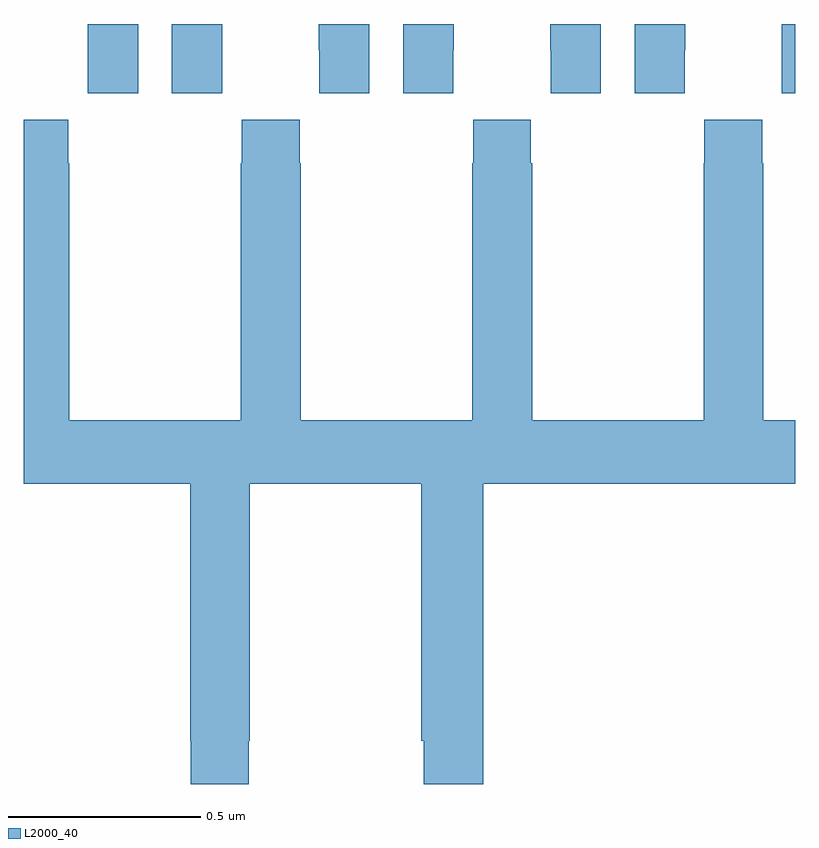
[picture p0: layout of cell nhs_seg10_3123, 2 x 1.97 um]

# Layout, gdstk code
import gdstk
lib = gdstk.Library(unit=1e-6, precision=1e-09)
def P(c, l, *ps):  # polygons
    for p in ps: c.add(gdstk.Polygon(p, *l))
L2000_40 = (2000, 40)

nhs_seg10_3123 = lib.new_cell('nhs_seg10_3123')
P(nhs_seg10_3123, L2000_40, [(149.296,1309.5),(149.165,1309.5),(149.165,1309.432),(149.166,1309.432),(149.166,1309.32),(149.296,1309.32)],
  [(149.514,1309.432),(149.515,1309.432),(149.515,1309.5),(149.384,1309.5),(149.384,1309.32),(149.514,1309.32)],
  [(149.896,1309.5),(149.765,1309.5),(149.765,1309.432),(149.766,1309.432),(149.766,1309.32),(149.896,1309.32)],
  [(150.114,1309.432),(150.115,1309.432),(150.115,1309.5),(149.984,1309.5),(149.984,1309.32),(150.114,1309.32)],
  [(150.496,1309.5),(150.365,1309.5),(150.365,1309.432),(150.366,1309.432),(150.366,1309.32),(150.496,1309.32)],
  [(150.714,1309.432),(150.715,1309.432),(150.715,1309.5),(150.584,1309.5),(150.584,1309.32),(150.714,1309.32)],
  [(151,1309.5),(150.965,1309.5),(150.965,1309.432),(150.966,1309.432),(150.966,1309.32),(151,1309.32)],
  [(149.583,1307.641),(149.586,1307.641),(149.586,1308.308),(150.031,1308.308),(150.031,1307.641),(150.037,1307.641),(150.037,1307.529),(150.191,1307.529),(150.191,1308.308),(151,1308.308),(151,1308.472),(150.918,1308.472),(150.918,1309.139),(150.915,1309.139),(150.915,1309.252),(150.765,1309.252),(150.765,1309.139),(150.763,1309.139),(150.763,1308.472),(150.318,1308.472),(150.318,1309.139),(150.315,1309.139),(150.315,1309.252),(150.165,1309.252),(150.165,1309.139),(150.163,1309.139),(150.163,1308.472),(149.718,1308.472),(149.718,1309.139),(149.715,1309.139),(149.715,1309.252),(149.565,1309.252),(149.565,1309.139),(149.563,1309.139),(149.563,1308.472),(149.118,1308.472),(149.118,1309.139),(149.115,1309.139),(149.115,1309.252),(149,1309.252),(149,1308.308),(149.431,1308.308),(149.431,1307.641),(149.433,1307.641),(149.433,1307.529),(149.583,1307.529)])

lib.write_gds('nhs_seg10_3123.gds')
